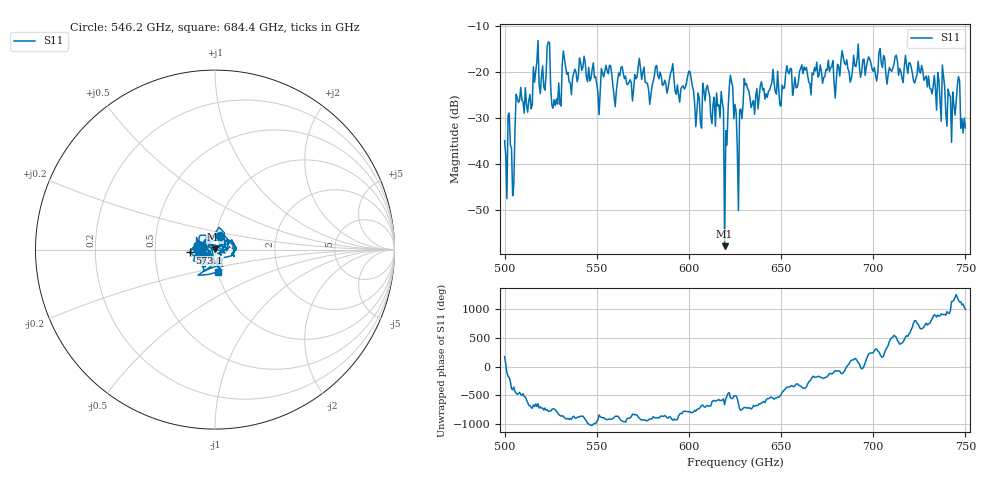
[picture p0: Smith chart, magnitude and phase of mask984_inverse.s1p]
!Created with skrf (http://scikit-rf.org).
# GHz S MA R 50.0
!freq magS11 angS11
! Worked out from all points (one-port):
!   401 points, 500 GHz to 750 GHz, reference 50 ohm
!   lowest |S11| = -58.0 dB at 619.4 GHz (marker M1), VSWR 1.00, Z = 50.1 + j0.106 ohm
!   |S11| at or under -10 dB: start of sweep to end of sweep
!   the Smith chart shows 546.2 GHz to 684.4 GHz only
!   S11 on the Smith chart (normalised r, x): 546.2 GHz: 1.05, +0.16; 573.1 GHz: 0.75, -0.02; 684.4 GHz: 1.01, -0.25
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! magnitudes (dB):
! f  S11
! 500 GHz  -35.0
! 504.4 GHz  -47.0
! 507.5 GHz  -26.6
! 513.8 GHz  -24.9
! 516.9 GHz  -19.9
! 520.6 GHz  -18.7
! 523.8 GHz  -13.4
! 526.9 GHz  -26.0
! 531.2 GHz  -18.4
! 546.2 GHz  -21.9
! 562.5 GHz  -20.8
! 573.1 GHz  -17.0
! 593.8 GHz  -22.8
! 600 GHz  -19.8
! 605 GHz  -24.6
! 617.5 GHz  -24.3
! 619.4 GHz  -58.0
! 622.5 GHz  -20.7
! 625 GHz  -27.1
! 627.5 GHz  -28.3
! 631.2 GHz  -22.5
! 656.2 GHz  -25.1
! 684.4 GHz  -18.0
! 687.5 GHz  -22.2
! 718.8 GHz  -20.3
! 741.2 GHz  -24.9
! 745.6 GHz  -23.0
! 750 GHz  -32.2
